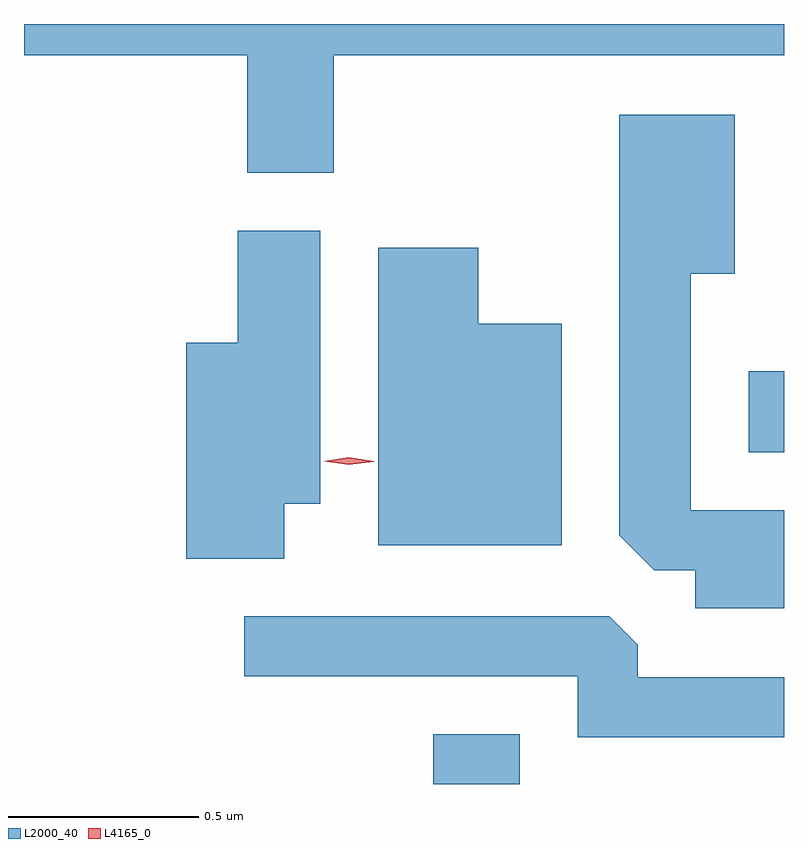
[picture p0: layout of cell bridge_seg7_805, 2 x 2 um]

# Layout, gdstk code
import gdstk
lib = gdstk.Library(unit=1e-6, precision=1e-09)
def R(c, l, rs):  # rectangles x0, y0, x1, y1
    for r in rs: c.add(gdstk.rectangle(r[:2], r[2:], *l))
def P(c, l, *ps):  # polygons
    for p in ps: c.add(gdstk.Polygon(p, *l))
L2000_40 = (2000, 40)
L4165_0 = (4165, 0)

bridge_seg7_805 = lib.new_cell('bridge_seg7_805')
R(bridge_seg7_805, L2000_40, [(252.811,1801.198,253.039,1801.329), (253.641,1802.071,253.734,1802.284)])
P(bridge_seg7_805, L2000_40, [(252.549,1803.116),(253.734,1803.116),(253.734,1803.198),(251.734,1803.198),(251.734,1803.116),(252.321,1803.116),(252.321,1802.806),(252.549,1802.806)],
  [(253.734,1801.919),(253.489,1801.919),(253.489,1802.541),(253.604,1802.541),(253.604,1802.959),(253.301,1802.959),(253.301,1801.852),(253.392,1801.761),(253.501,1801.761),(253.501,1801.661),(253.734,1801.661)],
  [(252.419,1801.936),(252.514,1801.936),(252.514,1802.654),(252.296,1802.654),(252.296,1802.359),(252.161,1802.359),(252.161,1801.791),(252.419,1801.791)],
  [(253.149,1802.409),(252.929,1802.409),(252.929,1802.609),(252.666,1802.609),(252.666,1801.826),(253.149,1801.826)],
  [(253.734,1801.479),(253.349,1801.479),(253.349,1801.564),(253.274,1801.639),(252.313,1801.639),(252.313,1801.481),(253.191,1801.481),(253.191,1801.321),(253.734,1801.321)])
P(bridge_seg7_805, L4165_0, [(252.589,1802.038),(252.523,1802.048),(252.523,1802.048),(252.523,1802.048),(252.589,1802.058),(252.655,1802.048),(252.656,1802.047),(252.655,1802.046)])

lib.write_gds('bridge_seg7_805.gds')
